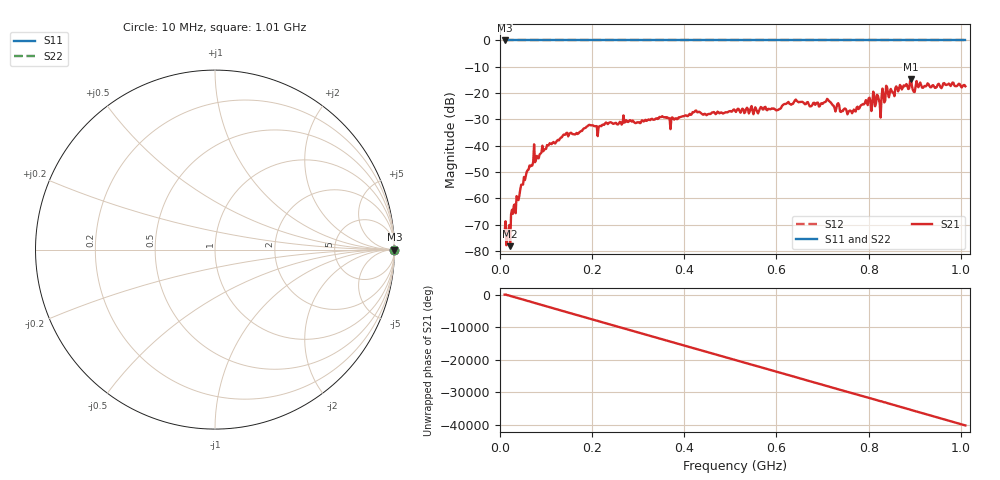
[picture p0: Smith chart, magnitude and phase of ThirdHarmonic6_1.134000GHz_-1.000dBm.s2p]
! 8/16/2025 11:04:12 AM
! C:\ANRITSUVNA\TEMP\TEMP.S2P
! CHANNEL.1
! TR.MEASUREMENT
! RAW.DATA
! RF.CORRECTION.OFF
! AVERAGING.OFF
! IF.BANDWIDTH: 5KHZ
! SWEEPTYPE:  FREQ.SWEEP(Linear)
! Reference Plane Port Info
! PORT:  PORT1  PORT2
! DISTANCE:  0  m  0  m
! TIME:  0  s  0  s
! PHASE.OFFSET:  0  deg.  0  deg.
! LOSS:  0  dB  0  dB
! REF.LOSS:  0  dB  0  dB
! REF.FREQ:  0  Hz  0  Hz
! Power Info
! POWER:  -20  dBm  -20  dBm
! EFF.POWER:  -20  dBm  -20  dBm
! SOURCE.ATTEN:  0  dB  0  dB
! TEST.ATTEN:  0  dB  0  dB
# GHZ S RI R 50.0
! FREQ.GHZ  S11RE  S11IM  S21RE  S21IM  S12RE  S12IM  S22RE  S22IM
!; PortSelection: Port_12
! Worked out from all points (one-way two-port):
!   501 points, 10 MHz to 1.01 GHz, reference 50 ohm
!   highest |S21| = -14.77 dB at 892 MHz (marker M1); lowest = -78.1 dB at 22 MHz (marker M2)
!   lowest |S11| = 0.0 dB at 10 MHz (marker M3)
!   |S11| at or under -10 dB: nowhere
!   |S22| runs from 0.0 to 0.0 dB; largest |S21 - S12| = 1.2
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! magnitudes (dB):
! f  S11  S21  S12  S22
! 10 MHz  0.0  -73.0  0.0  0.0
! 18 MHz  0.0  -72.7  0.0  0.0
! 22 MHz  0.0  -78.1  0.0  0.0
! 28 MHz  0.0  -65.8  0.0  0.0
! 48 MHz  0.0  -54.8  0.0  0.0
! 76 MHz  0.0  -46.2  0.0  0.0
! 142 MHz  0.0  -35.8  0.0  0.0
! 178 MHz  0.0  -34.4  0.0  0.0
! 344 MHz  0.0  -29.6  0.0  0.0
! 510 MHz  0.0  -26.7  0.0  0.0
! 602 MHz  0.0  -26.4  0.0  0.0
! 642 MHz  0.0  -22.4  0.0  0.0
! 678 MHz  0.0  -24.4  0.0  0.0
! 712 MHz  0.0  -22.5  0.0  0.0
! 742 MHz  0.0  -26.8  0.0  0.0
! 768 MHz  0.0  -26.2  0.0  0.0
! 798 MHz  0.0  -24.5  0.0  0.0
! 824 MHz  0.0  -23.9  0.0  0.0
! 844 MHz  0.0  -21.6  0.0  0.0
! 892 MHz  0.0  -14.8  0.0  0.0
! 898 MHz  0.0  -19.5  0.0  0.0
! 1.01 GHz  0.0  -17.4  0.0  0.0
